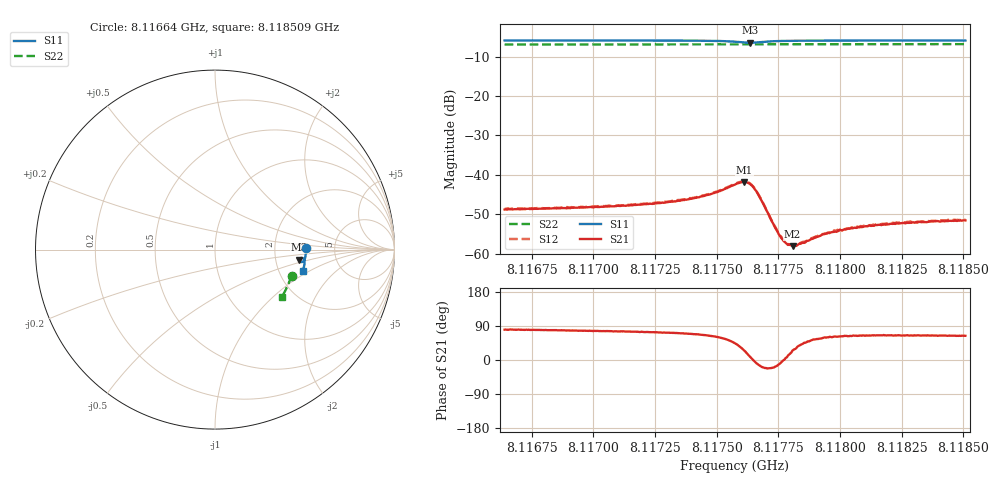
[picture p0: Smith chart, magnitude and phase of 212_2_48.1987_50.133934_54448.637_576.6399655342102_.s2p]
#  HZ  S  RI  R  50.00
! Rohde & Schwarz Vector Network Analyzer
! Rohde-Schwarz,ZNB20-2Port,1311601062101988,3.16
! Created: UTC 3/20/2024, 11:45:35 AM
! freq[Hz]  re:S11  im:S11  re:S21  im:S21  re:S12  im:S12  re:S22  im:S22
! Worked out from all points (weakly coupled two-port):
!   401 points, 8.11664 GHz to 8.118509 GHz, reference 50 ohm
!   highest |S21| = -41.81 dB at 8.117612 GHz (marker M1); lowest = -58.1 dB at 8.117808 GHz (marker M2)
!   lowest |S11| = -6.5 dB at 8.117635 GHz (marker M3), VSWR 2.80, Z = 137 - j20 ohm
!   |S11| at or under -10 dB: nowhere
!   |S22| runs from -6.9 to -6.8 dB; largest |S21 - S12| = 0.00021
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8.1166399e9  0.5066 0.0105  0.000628 0.00359  0.000647 0.00368  0.4262 -0.1452
8.1169529e9  0.5061 -0.0136  0.000836 0.00376  0.000903 0.00383  0.4195 -0.166
8.1172659e9  0.5036 -0.039  0.00131 0.00419  0.00135 0.00427  0.4116 -0.1864
8.1173874e9  0.5013 -0.0501  0.00175 0.0046  0.00181 0.0047  0.4082 -0.1945
8.1174575e9  0.4987 -0.0574  0.00232 0.00502  0.00241 0.00508  0.4062 -0.1988
8.1175042e9  0.4954 -0.0628  0.00301 0.00532  0.00312 0.00535  0.4046 -0.202
8.1175742e9  0.4838 -0.0694  0.00542 0.00524  0.0056 0.00536  0.4022 -0.2062
8.1176116e9  0.4734 -0.0653  0.00737 0.00342  0.00753 0.00343  0.4007 -0.2082
8.117635e9  0.4707 -0.0568  0.00759 0.00117  0.00773 0.00112  0.4001 -0.2091
8.117649e9  0.4725 -0.0515  0.00696 -9.67e-05  0.00709 -0.000176  0.3999 -0.2099
8.1176677e9  0.4778 -0.047  0.00556 -0.00117  0.00565 -0.00127  0.3996 -0.2106
8.1177284e9  0.4928 -0.0507  0.00228 -0.000832  0.00226 -0.000853  0.3983 -0.2148
8.1177611e9  0.4961 -0.0556  0.00158 -0.000178  0.00164 -0.000232  0.3975 -0.217
8.1177798e9  0.4972 -0.0582  0.00137 0.000128  0.00143 0.000109  0.3971 -0.2182
8.1178078e9  0.4981 -0.0618  0.00113 0.000531  0.00118 0.000501  0.3963 -0.2199
8.1178312e9  0.4984 -0.0647  0.00105 0.000791  0.00109 0.000767  0.3954 -0.2216
8.1178873e9  0.4987 -0.0709  0.000929 0.00123  0.000987 0.00124  0.3937 -0.2252
8.117934e9  0.4987 -0.0755  0.000907 0.00152  0.000977 0.0015  0.3921 -0.2282
8.1180087e9  0.498 -0.0821  0.000917 0.00174  0.000918 0.0018  0.3897 -0.2327
8.1180928e9  0.497 -0.0893  0.000922 0.00198  0.001 0.002  0.3868 -0.2381
8.1182003e9  0.4955 -0.0979  0.000997 0.00215  0.00105 0.00217  0.383 -0.2446
8.1185086e9  0.4901 -0.1214  0.00116 0.00237  0.00117 0.00247  0.3719 -0.263
